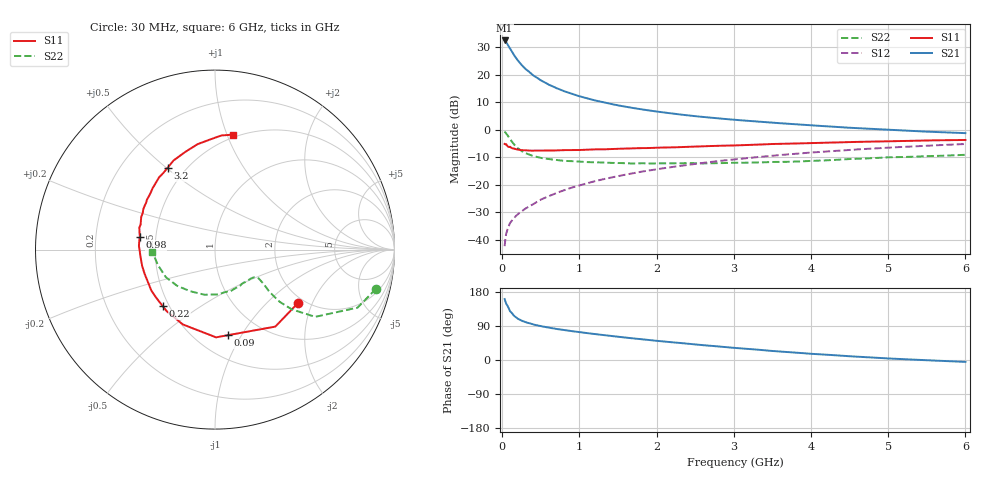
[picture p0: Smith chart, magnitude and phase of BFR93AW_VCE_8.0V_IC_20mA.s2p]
! Infineon Technologies  Discrete & RF Semiconductors
! BFR93AW
! VCE =  8.0 V,  IC =  20 mA
! Common Emitter S-Parameters:  Nov 2015
# GHz  S  MA  R  50
!  f  S11  S21  S12  S22
! GHz  MAG  ANG  MAG  ANG  MAG  ANG  MAG  ANG
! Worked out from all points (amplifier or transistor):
!   206 points, 30 MHz to 6 GHz, reference 50 ohm
!   highest |S21| = 32.4 dB at 30 MHz (marker M1)
!   |S21| within 3 dB of that: start of sweep to 101.6 MHz
!   unconditionally stable (mu >= 1): 572.8 MHz to 2.183 GHz
!   at 200 MHz: K = 0.68, MSG = 28.0 dB, |S12| = -30.8 dB
!   at 1.56 GHz: K = 1.04, MAG = 11.3 dB, |S12| = -16.6 dB
!   at 6 GHz: K = 0.88, MSG = 2.0 dB, |S12| = -5.2 dB
!   S11 on the Smith chart (normalised r, x): 30 MHz: 1.86, -1.58; 90 MHz: 0.71, -0.88; 220 MHz: 0.46, -0.36; 980 MHz: 0.41, +0.07; 3.2 GHz: 0.40, +0.50; 6 GHz: 0.48, +1.05
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0.03  0.5503 -32.5  41.84 160.8  0.0076 75.0  0.9231 -13.7
0.05  0.5451 -51.9  39.19 148.7  0.0128 67.9  0.8573 -22.2
0.09  0.4823 -81.4  31.37 133.6  0.0185 63.1  0.7061 -31.1
0.1  0.4889 -89.3  29.86 128.7  0.02 62.3  0.6717 -33.9
0.15  0.4539 -113.3  22.79 116.7  0.0245 59.2  0.5413 -37.9
0.2  0.436 -128.1  18.18 109.1  0.029 59.5  0.4618 -38.9
0.22  0.4291 -132.7  16.88 107.2  0.0304 60.2  0.44 -38.7
0.26  0.4229 -141.2  14.51 103.0  0.0334 61.5  0.4005 -38.1
0.3  0.4217 -147.3  12.7 99.7  0.0367 62.7  0.3738 -37.4
0.4  0.415 -159.2  9.706 93.7  0.044 65.4  0.3309 -35.2
0.5  0.416 -167.1  7.871 89.1  0.0534 66.8  0.3049 -34.1
0.6  0.4166 -173.1  6.597 85.4  0.0615 68.9  0.2915 -33.4
0.7  0.4187 -178.2  5.701 82.0  0.0703 69.5  0.2813 -33.7
0.98  0.4256 170.5  4.127 74.1  0.0951 70.7  0.2639 -36.2
1.04  0.4284 168.5  3.901 72.5  0.1007 70.7  0.2603 -37.4
1.5  0.4495 156.2  2.76 61.4  0.1425 69.5  0.248 -46.7
2.02  0.4704 143.4  2.114 50.2  0.192 66.6  0.2437 -60.1
3.1  0.5208 121.9  1.475 30.6  0.2965 58.0  0.2499 -89.7
3.2  0.5268 120.1  1.439 29.0  0.3062 57.0  0.2507 -93.1
4.1  0.5743 105.1  1.174 15.2  0.392 48.2  0.2729 -124.2
5.1  0.6174 91.6  0.98 3.2  0.4783 37.3  0.3155 -153.6
6  0.6485 81.0  0.864 -5.0  0.5485 27.7  0.3487 -177.6
